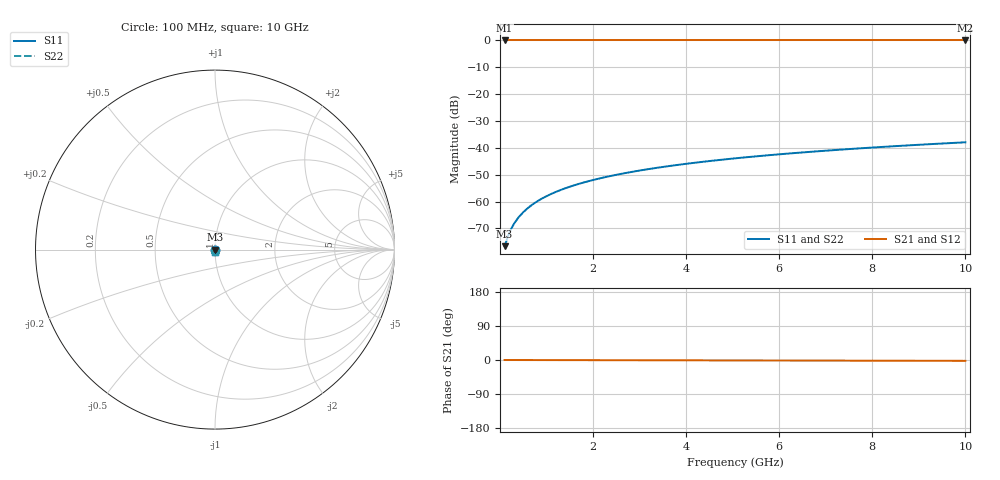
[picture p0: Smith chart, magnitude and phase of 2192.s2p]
# Hz S RI R 50.00
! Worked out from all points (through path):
!   100 points, 100 MHz to 10 GHz, reference 50 ohm
!   highest |S21| = 0.00 dB at 100 MHz (marker M1); lowest = 0.0 dB at 10 GHz (marker M2)
!   lowest |S11| = -76.6 dB at 100 MHz (marker M3), VSWR 1.00, Z = 50 - j0.0126 ohm
!   |S11| at or under -10 dB: start of sweep to end of sweep
!   |S22| runs from -76.6 to -37.9 dB; largest |S21 - S12| = 0
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1e8  7.74e-05 -0.000126  0.9999 -0.000388  0.9999 -0.000388  7.74e-05 -0.000126
2e8  7.75e-05 -0.000251  0.9999 -0.000776  0.9999 -0.000776  7.75e-05 -0.000251
3e8  7.74e-05 -0.000377  0.9999 -0.00116  0.9999 -0.00116  7.74e-05 -0.000377
4e8  7.72e-05 -0.000503  0.9999 -0.00155  0.9999 -0.00155  7.72e-05 -0.000503
5e8  7.68e-05 -0.000629  0.9999 -0.00194  0.9999 -0.00194  7.68e-05 -0.000629
6e8  7.62e-05 -0.000754  0.9999 -0.00233  0.9999 -0.00233  7.62e-05 -0.000754
7e8  7.56e-05 -0.00088  0.9999 -0.00272  0.9999 -0.00272  7.56e-05 -0.00088
8e8  7.48e-05 -0.00101  0.9999 -0.0031  0.9999 -0.0031  7.48e-05 -0.00101
9e8  7.39e-05 -0.00113  0.9999 -0.00349  0.9999 -0.00349  7.39e-05 -0.00113
1.1e9  7.18e-05 -0.00138  0.9999 -0.00427  0.9999 -0.00427  7.18e-05 -0.00138
1.4e9  6.79e-05 -0.00176  0.9999 -0.00543  0.9999 -0.00543  6.79e-05 -0.00176
1.8e9  6.12e-05 -0.00227  0.9999 -0.00699  0.9999 -0.00699  6.12e-05 -0.00227
2.1e9  5.52e-05 -0.00264  0.9999 -0.00815  0.9999 -0.00815  5.52e-05 -0.00264
2.5e9  4.57e-05 -0.00315  0.9999 -0.00971  0.9999 -0.00971  4.57e-05 -0.00315
2.9e9  3.46e-05 -0.00365  0.9998 -0.0113  0.9998 -0.0113  3.46e-05 -0.00365
3.4e9  1.84e-05 -0.00428  0.9998 -0.0132  0.9998 -0.0132  1.84e-05 -0.00428
4.2e9  -1.26e-05 -0.0053  0.9998 -0.0163  0.9998 -0.0163  -1.26e-05 -0.0053
5.1e9  -5.51e-05 -0.00644  0.9997 -0.0198  0.9997 -0.0198  -5.51e-05 -0.00644
5.9e9  -9.97e-05 -0.00745  0.9996 -0.023  0.9996 -0.023  -9.97e-05 -0.00745
6.7e9  -0.000151 -0.00847  0.9995 -0.0261  0.9995 -0.0261  -0.000151 -0.00847
8.4e9  -0.000281 -0.0106  0.9993 -0.0328  0.9993 -0.0328  -0.000281 -0.0106
1e10  -0.00043 -0.0127  0.999 -0.039  0.999 -0.039  -0.00043 -0.0127
